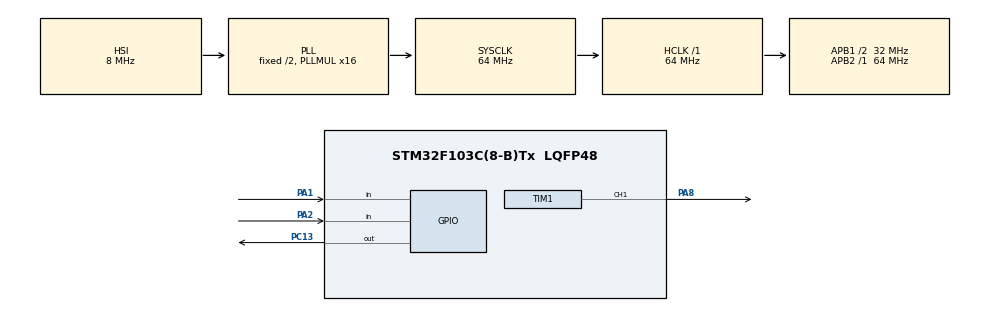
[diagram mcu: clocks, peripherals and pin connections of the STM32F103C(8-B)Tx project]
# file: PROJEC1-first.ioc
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Mcu.Family=STM32F1
Mcu.Name=STM32F103C(8-B)Tx
Mcu.Package=LQFP48
NVIC.PriorityGroup=NVIC_PRIORITYGROUP_4
PA1.GPIO_PuPd=GPIO_PULLUP
PA1.Signal=GPIO_Input
PA13.Mode=Serial_Wire
PA13.Signal=SYS_JTMS-SWDIO
PA14.Mode=Serial_Wire
PA14.Signal=SYS_JTCK-SWCLK
PA2.GPIO_PuPd=GPIO_PULLUP
PA2.Signal=GPIO_Input
PA8.Signal=S_TIM1_CH1
PC13-TAMPER-RTC.GPIO_ModeDefaultOutputPP=GPIO_MODE_OUTPUT_PP
PC13-TAMPER-RTC.GPIO_PuPd=GPIO_NOPULL
PC13-TAMPER-RTC.Signal=GPIO_Output
PD0-OSC_IN.Mode=HSE-External-Oscillator
PD0-OSC_IN.Signal=RCC_OSC_IN
PD1-OSC_OUT.Mode=HSE-External-Oscillator
PD1-OSC_OUT.Signal=RCC_OSC_OUT
ProjectManager.HeapSize=0x200
ProjectManager.StackSize=0x400
ProjectManager.TargetToolchain=MDK-ARM V5.32
RCC.AHBFreq_Value=64000000
RCC.APB1CLKDivider=RCC_HCLK_DIV2
RCC.APB1Freq_Value=32000000
RCC.APB1TimFreq_Value=64000000
RCC.APB2Freq_Value=64000000
RCC.APB2TimFreq_Value=64000000
RCC.HCLKFreq_Value=64000000
RCC.PLLMUL=RCC_PLL_MUL16
RCC.SYSCLKFreq_VALUE=64000000
RCC.SYSCLKSource=RCC_SYSCLKSOURCE_PLLCLK
RCC.USBFreq_Value=64000000
SH.S_TIM1_CH1.0=TIM1_CH1,PWM Generation1 CH1
TIM1.Channel-PWM\ Generation1\ CH1=TIM_CHANNEL_1
TIM1.Period=1999
TIM1.Prescaler=63
VP_TIM1_VS_ClockSourceINT.Mode=Internal
board=custom

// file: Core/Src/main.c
/* USER CODE BEGIN Header */
/**
  ******************************************************************************
  * @file           : main.c
  * @brief          : Main program body
  ******************************************************************************
  * @attention
  *
  * Copyright (c) 2024 STMicroelectronics.
  * All rights reserved.
  *
  * This software is licensed under terms that can be found in the LICENSE file
  * in the root directory of this software component.
  * If no LICENSE file comes with this software, it is provided AS-IS.
  *
  ******************************************************************************
  */
/* USER CODE END Header */
#include "main.h"

/* USER CODE BEGIN Includes */
#include "Button.h"
#include "LEDPWM.h"
/* USER CODE END Includes */

TIM_HandleTypeDef htim1;

void SystemClock_Config(void);
static void MX_GPIO_Init(void);
static void MX_TIM1_Init(void);

/* USER CODE BEGIN 0 */
Button_Typdef button;
Button_Typdef button_bright;

LED_Status LedStatus = LEDOFF;
LED_HandleTypdef ledPC13;

uint8_t Bright_Ratio = 20;

htim_HandleTypdef hhtim1;

void btn_press_button_callback(Button_Typdef* Buttonx){
  if(button.GPIOx == Buttonx->GPIOx && button.GPIO_Pin == Buttonx->GPIO_Pin){
   switch(LedStatus){
		 case LEDOFF: LedStatus = Status_1;
		      break;
		 case Status_1: LedStatus = Status_2;
		      break;
		 case Status_2: LedStatus = LEDOFF;
			 break;
		 default: LedStatus = LEDOFF;
		   break;
	   }
  }
	else {
		Bright_Ratio++;
		if (Bright_Ratio == 100) {Bright_Ratio = 0;}
	}
}

void BlinkLED(LED_HandleTypdef* ledx){
	static uint32_t last_tick = 0;
	if (HAL_GetTick() - last_tick >= 1000) {
    last_tick = HAL_GetTick();
    HAL_GPIO_TogglePin(ledx->GPIOx, ledx->GPIO_Pin);
  }
}

void LED_Handle(htim_HandleTypdef* htim_Handle, LED_HandleTypdef* ledx, LED_Status LedStatus, uint8_t Bright_Ratio) {
    switch (LedStatus) {
        case LEDOFF:
            HAL_GPIO_WritePin(ledx->GPIOx, ledx->GPIO_Pin, GPIO_PIN_SET);
            HAL_TIM_PWM_Stop(htim_Handle->htimx, htim_Handle->Channel);
            break;
        case Status_1:
            BlinkLED(ledx);
				    // why it wrong
				/*
				    HAL_GPIO_TogglePin(GPIOC, GPIO_PIN_13);
				    HAL_Delay(500);
				*/
            HAL_TIM_PWM_Stop(htim_Handle->htimx, htim_Handle->Channel);
            break;
        case Status_2:
            Bright_Handle(htim_Handle, ledx, Bright_Ratio);
            break;
        default:
            HAL_TIM_PWM_Stop(htim_Handle->htimx, htim_Handle->Channel);
            HAL_GPIO_WritePin(ledx->GPIOx, ledx->GPIO_Pin, GPIO_PIN_SET);
            break;
    }
}

/* USER CODE END 0 */

int main(void)
{

  /* MCU Configuration--------------------------------------------------------*/

  /* Reset of all peripherals, Initializes the Flash interface and the Systick. */
  HAL_Init();

  /* Configure the system clock */
  SystemClock_Config();

  /* Initialize all configured peripherals */
  MX_GPIO_Init();
  MX_TIM1_Init();
  /* USER CODE BEGIN 2 */
  button_init(&button, GPIOA, GPIO_PIN_1);
	button_init(&button_bright, GPIOA, GPIO_PIN_2);
  LED_init(&ledPC13, GPIOC, GPIO_PIN_13);
	hhtim_init(&hhtim1, &htim1, TIM_CHANNEL_1);
  /* USER CODE END 2 */

  /* Infinite loop */
  while (1)
  {

    /* USER CODE BEGIN 3 */
		button_handle(&button);
		button_handle(&button_bright);
		LED_Handle(&hhtim1, &ledPC13, LedStatus, Bright_Ratio);
		//HAL_Delay(1000);
  }
  /* USER CODE END 3 */
}

void SystemClock_Config(void)
{
  RCC_OscInitTypeDef RCC_OscInitStruct = {0};
  RCC_ClkInitTypeDef RCC_ClkInitStruct = {0};

  /** Initializes the RCC Oscillators according to the specified parameters
  * in the RCC_OscInitTypeDef structure.
  */
  RCC_OscInitStruct.OscillatorType = RCC_OSCILLATORTYPE_HSI;
  RCC_OscInitStruct.HSIState = RCC_HSI_ON;
  RCC_OscInitStruct.HSICalibrationValue = RCC_HSICALIBRATION_DEFAULT;
  RCC_OscInitStruct.PLL.PLLState = RCC_PLL_ON;
  RCC_OscInitStruct.PLL.PLLSource = RCC_PLLSOURCE_HSI_DIV2;
  RCC_OscInitStruct.PLL.PLLMUL = RCC_PLL_MUL16;
  if (HAL_RCC_OscConfig(&RCC_OscInitStruct) != HAL_OK)
  {
    Error_Handler();
  }

  /** Initializes the CPU, AHB and APB buses clocks
  */
  RCC_ClkInitStruct.ClockType = RCC_CLOCKTYPE_HCLK|RCC_CLOCKTYPE_SYSCLK
                              |RCC_CLOCKTYPE_PCLK1|RCC_CLOCKTYPE_PCLK2;
  RCC_ClkInitStruct.SYSCLKSource = RCC_SYSCLKSOURCE_PLLCLK;
  RCC_ClkInitStruct.AHBCLKDivider = RCC_SYSCLK_DIV1;
  RCC_ClkInitStruct.APB1CLKDivider = RCC_HCLK_DIV2;
  RCC_ClkInitStruct.APB2CLKDivider = RCC_HCLK_DIV1;

  if (HAL_RCC_ClockConfig(&RCC_ClkInitStruct, FLASH_LATENCY_2) != HAL_OK)
  {
    Error_Handler();
  }
}

static void MX_TIM1_Init(void)
{

  TIM_ClockConfigTypeDef sClockSourceConfig = {0};
  TIM_MasterConfigTypeDef sMasterConfig = {0};
  TIM_OC_InitTypeDef sConfigOC = {0};
  TIM_BreakDeadTimeConfigTypeDef sBreakDeadTimeConfig = {0};

  htim1.Instance = TIM1;
  htim1.Init.Prescaler = 63;
  htim1.Init.CounterMode = TIM_COUNTERMODE_UP;
  htim1.Init.Period = 1999;
  htim1.Init.ClockDivision = TIM_CLOCKDIVISION_DIV1;
  htim1.Init.RepetitionCounter = 0;
  htim1.Init.AutoReloadPreload = TIM_AUTORELOAD_PRELOAD_DISABLE;
  if (HAL_TIM_Base_Init(&htim1) != HAL_OK)
  {
    Error_Handler();
  }
  sClockSourceConfig.ClockSource = TIM_CLOCKSOURCE_INTERNAL;
  if (HAL_TIM_ConfigClockSource(&htim1, &sClockSourceConfig) != HAL_OK)
  {
    Error_Handler();
  }
  if (HAL_TIM_PWM_Init(&htim1) != HAL_OK)
  {
    Error_Handler();
  }
  sMasterConfig.MasterOutputTrigger = TIM_TRGO_RESET;
  sMasterConfig.MasterSlaveMode = TIM_MASTERSLAVEMODE_DISABLE;
  if (HAL_TIMEx_MasterConfigSynchronization(&htim1, &sMasterConfig) != HAL_OK)
  {
    Error_Handler();
  }
  sConfigOC.OCMode = TIM_OCMODE_PWM1;
  sConfigOC.Pulse = 0;
  sConfigOC.OCPolarity = TIM_OCPOLARITY_HIGH;
  sConfigOC.OCNPolarity = TIM_OCNPOLARITY_HIGH;
  sConfigOC.OCFastMode = TIM_OCFAST_DISABLE;
  sConfigOC.OCIdleState = TIM_OCIDLESTATE_RESET;
  sConfigOC.OCNIdleState = TIM_OCNIDLESTATE_RESET;
  if (HAL_TIM_PWM_ConfigChannel(&htim1, &sConfigOC, TIM_CHANNEL_1) != HAL_OK)
  {
    Error_Handler();
  }
  sBreakDeadTimeConfig.OffStateRunMode = TIM_OSSR_DISABLE;
  sBreakDeadTimeConfig.OffStateIDLEMode = TIM_OSSI_DISABLE;
  sBreakDeadTimeConfig.LockLevel = TIM_LOCKLEVEL_OFF;
  sBreakDeadTimeConfig.DeadTime = 0;
  sBreakDeadTimeConfig.BreakState = TIM_BREAK_DISABLE;
  sBreakDeadTimeConfig.BreakPolarity = TIM_BREAKPOLARITY_HIGH;
  sBreakDeadTimeConfig.AutomaticOutput = TIM_AUTOMATICOUTPUT_DISABLE;
  if (HAL_TIMEx_ConfigBreakDeadTime(&htim1, &sBreakDeadTimeConfig) != HAL_OK)
  {
    Error_Handler();
  }
  HAL_TIM_MspPostInit(&htim1);

}

static void MX_GPIO_Init(void)
{
  GPIO_InitTypeDef GPIO_InitStruct = {0};

  /* GPIO Ports Clock Enable */
  __HAL_RCC_GPIOC_CLK_ENABLE();
  __HAL_RCC_GPIOD_CLK_ENABLE();
  __HAL_RCC_GPIOA_CLK_ENABLE();

  /*Configure GPIO pin Output Level */
  HAL_GPIO_WritePin(GPIOC, GPIO_PIN_13, GPIO_PIN_RESET);

  /*Configure GPIO pin : PC13 */
  GPIO_InitStruct.Pin = GPIO_PIN_13;
  GPIO_InitStruct.Mode = GPIO_MODE_OUTPUT_PP;
  GPIO_InitStruct.Pull = GPIO_NOPULL;
  GPIO_InitStruct.Speed = GPIO_SPEED_FREQ_LOW;
  HAL_GPIO_Init(GPIOC, &GPIO_InitStruct);

  /*Configure GPIO pins : PA1 PA2 */
  GPIO_InitStruct.Pin = GPIO_PIN_1|GPIO_PIN_2;
  GPIO_InitStruct.Mode = GPIO_MODE_INPUT;
  GPIO_InitStruct.Pull = GPIO_PULLUP;
  HAL_GPIO_Init(GPIOA, &GPIO_InitStruct);

}

void Error_Handler(void)
{
  __disable_irq();
  while (1)
  {
  }
}
